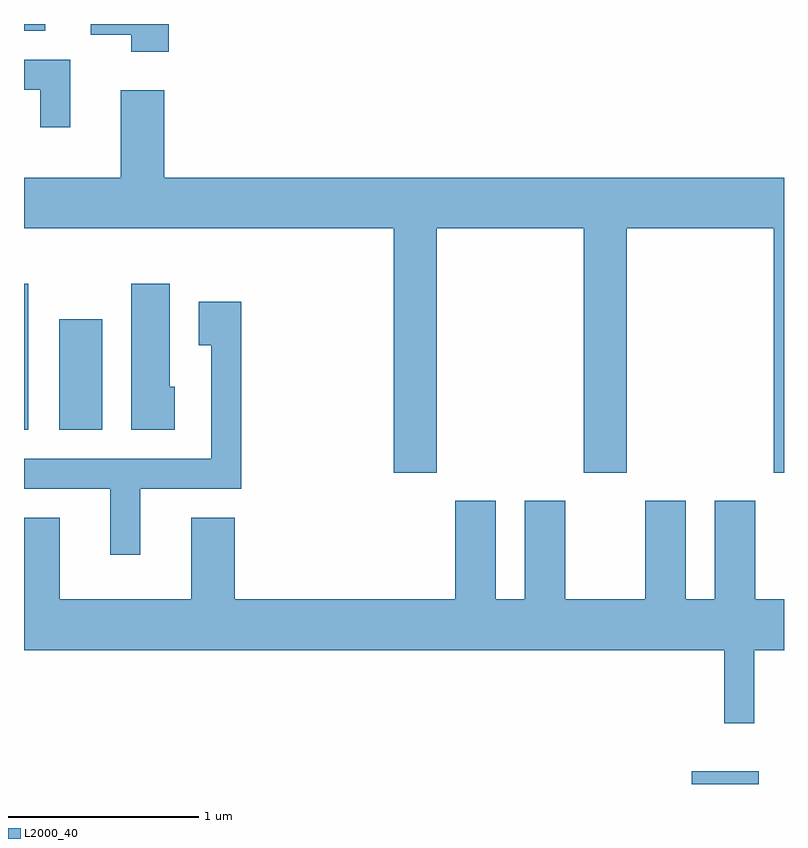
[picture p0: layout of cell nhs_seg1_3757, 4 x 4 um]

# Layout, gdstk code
import gdstk
lib = gdstk.Library(unit=1e-6, precision=1e-09)
def R(c, l, rs):  # rectangles x0, y0, x1, y1
    for r in rs: c.add(gdstk.rectangle(r[:2], r[2:], *l))
def P(c, l, *ps):  # polygons
    for p in ps: c.add(gdstk.Polygon(p, *l))
L2000_40 = (2000, 40)

nhs_seg1_3757 = lib.new_cell('nhs_seg1_3757')
R(nhs_seg1_3757, L2000_40, [(301.126,947.712,301.479,947.779), (297.611,949.576,297.634,950.344), (297.796,949.576,298.024,950.159), (297.611,951.676,297.724,951.712), (298.886,951.711,299.514,951.712)])
P(nhs_seg1_3757, L2000_40, [(298.374,951.712),(297.961,951.712),(297.961,951.656),(298.176,951.656),(298.176,951.566),(298.374,951.566)],
  [(297.854,951.524),(297.611,951.524),(297.611,951.366),(297.696,951.366),(297.696,951.168),(297.854,951.168)],
  [(299.784,950.636),(300.556,950.636),(300.556,949.351),(300.784,949.351),(300.784,950.636),(301.556,950.636),(301.556,949.351),(301.611,949.351),(301.611,950.904),(298.349,950.904),(298.349,951.364),(298.121,951.364),(298.121,950.904),(297.611,950.904),(297.611,950.636),(299.556,950.636),(299.556,949.351),(299.784,949.351)],
  [(298.404,949.804),(298.379,949.804),(298.379,950.344),(298.176,950.344),(298.176,949.576),(298.404,949.576)],
  [(298.224,949.266),(298.754,949.266),(298.754,950.249),(298.531,950.249),(298.531,950.021),(298.596,950.021),(298.596,949.424),(297.611,949.424),(297.611,949.266),(298.066,949.266),(298.066,948.918),(298.224,948.918)],
  [(301.296,948.033),(301.454,948.033),(301.454,948.416),(301.611,948.416),(301.611,948.684),(301.459,948.684),(301.459,949.204),(301.246,949.204),(301.246,948.684),(301.094,948.684),(301.094,949.204),(300.881,949.204),(300.881,948.684),(300.459,948.684),(300.459,949.204),(300.246,949.204),(300.246,948.684),(300.094,948.684),(300.094,949.204),(299.881,949.204),(299.881,948.684),(298.719,948.684),(298.719,949.114),(298.491,949.114),(298.491,948.684),(297.799,948.684),(297.799,949.114),(297.611,949.114),(297.611,948.416),(301.296,948.416)])

lib.write_gds('nhs_seg1_3757.gds')
